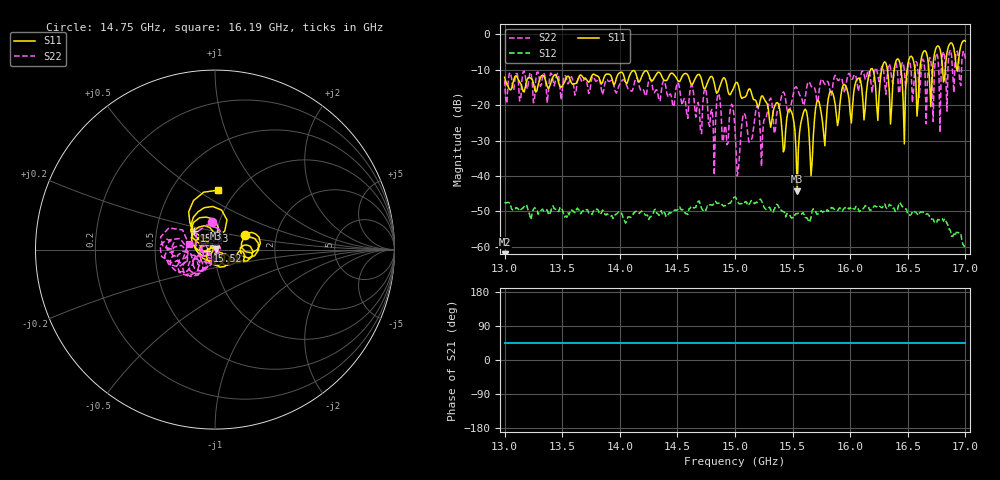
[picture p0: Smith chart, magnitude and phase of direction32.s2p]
!Keysight Technologies,P9374A,MY57211810,A.19.30.04
!Date: Friday, May 02, 2025 09:03:06
!Correction: S11(Off)
!S21(Off)
!S12(Off)
!S22(Off)
!S2P File: Measurements: S11, S21, S12, S22:
# Hz S  dB  R 50
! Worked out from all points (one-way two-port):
!   401 points, 13 GHz to 17 GHz, reference 50 ohm
!   highest |S21| = - dB at 13 GHz (marker M1); lowest = - dB at 13 GHz (marker M2)
!   lowest |S11| = -44.3 dB at 15.54 GHz (marker M3), VSWR 1.01, Z = 50.4 + j0.485 ohm
!   |S11| at or under -10 dB: start of sweep to 16.18 GHz; 16.19658 GHz to 16.27379 GHz (77.21 MHz wide, 0.476 % of centre); 16.32281 GHz to 16.38199 GHz (59.19 MHz wide, 0.362 % of centre) (the widest 3 of 8)
!   |S22| runs from -40.0 to -4.4 dB; largest |S21 - S12| = 0.005
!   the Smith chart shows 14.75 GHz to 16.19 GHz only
!   S11 on the Smith chart (normalised r, x): 14.75 GHz: 1.38, +0.23; 15.52 GHz: 0.92, -0.02; 15.83 GHz: 0.77, +0.17; 16.19 GHz: 0.83, +0.61
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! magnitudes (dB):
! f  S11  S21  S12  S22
! 13 GHz  -12.1  -  -47.7  -13.0
! 13.67 GHz  -11.7  -  -50.1  -13.4
! 14.34 GHz  -10.7  -  -51.2  -18.7
! 14.75 GHz  -14.6  -  -49.4  -16.1
! 15 GHz  -14.1  -  -45.9  -26.7
! 15.52 GHz  -27.1  -  -51.0  -15.1
! 15.54 GHz  -44.3  -  -50.6  -15.3
! 15.61 GHz  -21.1  -  -51.8  -17.8
! 15.67 GHz  -35.8  -  -49.7  -15.0
! 15.71 GHz  -19.1  -  -50.8  -18.7
! 15.77 GHz  -28.2  -  -50.0  -13.6
! 15.83 GHz  -16.0  -  -49.2  -17.4
! 16.12 GHz  -24.2  -  -49.0  -11.3
! 16.19 GHz  -9.6  -  -49.4  -16.5
! 16.34 GHz  -16.2  -  -48.0  -8.3
! 16.41 GHz  -6.9  -  -49.6  -10.2
! 16.47 GHz  -30.9  -  -49.1  -10.0
! 16.52 GHz  -6.3  -  -51.1  -7.9
! 16.58 GHz  -23.1  -  -50.7  -8.0
! 16.64 GHz  -4.7  -  -50.2  -7.5
! 16.7 GHz  -20.4  -  -52.1  -7.2
! 17 GHz  -1.9  -  -59.6  -6.9
